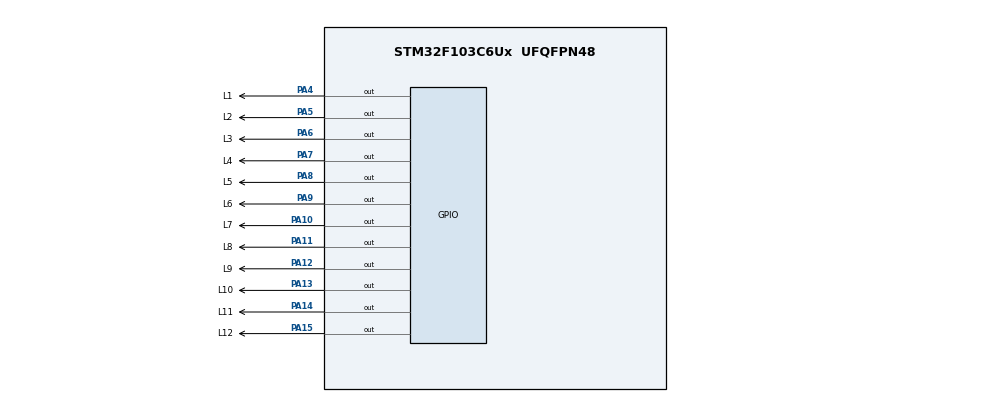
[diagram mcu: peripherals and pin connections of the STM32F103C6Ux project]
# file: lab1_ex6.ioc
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Mcu.Family=STM32F1
Mcu.Name=STM32F103C6Ux
Mcu.Package=UFQFPN48
NVIC.PriorityGroup=NVIC_PRIORITYGROUP_4
PA10.GPIO_Label=L7
PA10.Signal=GPIO_Output
PA11.GPIO_Label=L8
PA11.Signal=GPIO_Output
PA12.GPIO_Label=L9
PA12.Signal=GPIO_Output
PA13.GPIO_Label=L10
PA13.Signal=GPIO_Output
PA14.GPIO_Label=L11
PA14.Signal=GPIO_Output
PA15.GPIO_Label=L12
PA15.Signal=GPIO_Output
PA4.GPIO_Label=L1
PA4.Signal=GPIO_Output
PA5.GPIO_Label=L2
PA5.Signal=GPIO_Output
PA6.GPIO_Label=L3
PA6.Signal=GPIO_Output
PA7.GPIO_Label=L4
PA7.Signal=GPIO_Output
PA8.GPIO_Label=L5
PA8.Signal=GPIO_Output
PA9.GPIO_Label=L6
PA9.Signal=GPIO_Output
ProjectManager.HeapSize=0x200
ProjectManager.StackSize=0x400
ProjectManager.TargetToolchain=STM32CubeIDE
RCC.APB1Freq_Value=8000000
RCC.APB2Freq_Value=8000000
VP_SYS_VS_ND.Mode=No_Debug
board=custom

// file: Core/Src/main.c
/* USER CODE BEGIN Header */
/**
  ******************************************************************************
  * @file           : main.c
  * @brief          : Main program body
  ******************************************************************************
  * @attention
  *
  * <h2><center>&copy; Copyright (c) 2022 STMicroelectronics.
  * All rights reserved.</center></h2>
  *
  * This software component is licensed by ST under BSD 3-Clause license,
  * the "License"; You may not use this file except in compliance with the
  * License. You may obtain a copy of the License at:
  *                        opensource.org/licenses/BSD-3-Clause
  *
  ******************************************************************************
  */
/* USER CODE END Header */
#include "main.h"

void SystemClock_Config(void);
static void MX_GPIO_Init(void);

int main(void)
{

  /* MCU Configuration--------------------------------------------------------*/

  /* Reset of all peripherals, Initializes the Flash interface and the Systick. */
  HAL_Init();

  /* Configure the system clock */
  SystemClock_Config();

  /* Initialize all configured peripherals */
  MX_GPIO_Init();
  /* USER CODE BEGIN 2 */
  int counter = -1;
  // Initialize one of twelve Leds for lighting
  HAL_GPIO_WritePin(GPIOA, L1_Pin, RESET);
  HAL_GPIO_WritePin(GPIOA, L2_Pin, SET);
  HAL_GPIO_WritePin(GPIOA, L3_Pin, SET);
  HAL_GPIO_WritePin(GPIOA, L4_Pin, SET);
  HAL_GPIO_WritePin(GPIOA, L5_Pin, SET);
  HAL_GPIO_WritePin(GPIOA, L6_Pin, SET);
  HAL_GPIO_WritePin(GPIOA, L7_Pin, SET);
  HAL_GPIO_WritePin(GPIOA, L8_Pin, SET);
  HAL_GPIO_WritePin(GPIOA, L9_Pin, SET);
  HAL_GPIO_WritePin(GPIOA, L10_Pin, SET);
  HAL_GPIO_WritePin(GPIOA, L11_Pin, SET);
  HAL_GPIO_WritePin(GPIOA, L12_Pin, SET);
  /* USER CODE END 2 */

  /* Infinite loop */
  while (1)
  {
    /* USER CODE BEGIN 3 */
	  /*Every second, only one LED blinks.
	  And so on, the LEDs blink clockwise in turn after the other until a circle of 12 LEDs completes.
	  Repeat the above effect endlessly.*/
	  switch(counter) {
	  case 0: //LED 1 off, LED 2 on
		  HAL_GPIO_TogglePin(GPIOA, L1_Pin);
		  HAL_GPIO_TogglePin(GPIOA, L2_Pin);
		  break;
	  case 1: //LED 2 off, LED 3 on
		  HAL_GPIO_TogglePin(GPIOA, L2_Pin);
		  HAL_GPIO_TogglePin(GPIOA, L3_Pin);
		  break;
	  case 2: //LED 3 off, LED 4 on
		  HAL_GPIO_TogglePin(GPIOA, L3_Pin);
		  HAL_GPIO_TogglePin(GPIOA, L4_Pin);
		  break;
	  case 3: //LED 4 off, LED 5 on
		  HAL_GPIO_TogglePin(GPIOA, L4_Pin);
		  HAL_GPIO_TogglePin(GPIOA, L5_Pin);
		  break;
	  case 4: //LED 5 off, LED 6 on
		  HAL_GPIO_TogglePin(GPIOA, L5_Pin);
		  HAL_GPIO_TogglePin(GPIOA, L6_Pin);
		  break;
	  case 5: //LED 6 off, LED 7 on
		  HAL_GPIO_TogglePin(GPIOA, L6_Pin);
		  HAL_GPIO_TogglePin(GPIOA, L7_Pin);
		  break;
	  case 6: //LED 7 off, LED 8 on
		  HAL_GPIO_TogglePin(GPIOA, L7_Pin);
		  HAL_GPIO_TogglePin(GPIOA, L8_Pin);
		  break;
	  case 7: //LED 8 off, LED 9 on
		  HAL_GPIO_TogglePin(GPIOA, L8_Pin);
		  HAL_GPIO_TogglePin(GPIOA, L9_Pin);
		  break;
	  case 8: //LED 9 off, LED 10 on
		  HAL_GPIO_TogglePin(GPIOA, L9_Pin);
		  HAL_GPIO_TogglePin(GPIOA, L10_Pin);
		  break;
	  case 9: //LED 10 off, LED 11 on
		  HAL_GPIO_TogglePin(GPIOA, L10_Pin);
		  HAL_GPIO_TogglePin(GPIOA, L11_Pin);
		  break;
	  case 10: //LED 11 off, LED 12 on
		  HAL_GPIO_TogglePin(GPIOA, L11_Pin);
		  HAL_GPIO_TogglePin(GPIOA, L12_Pin);
		  break;
	  case 11: //LED 12 off, LED 1 on
		  HAL_GPIO_TogglePin(GPIOA, L12_Pin);
		  HAL_GPIO_TogglePin(GPIOA, L1_Pin);
		  break;
	  }
	  counter++;
	  if(counter >= 12)
		  counter = 0; //Repeat the above effect endlessly.
	  HAL_Delay(1000);
  }
  /* USER CODE END 3 */
}

void SystemClock_Config(void)
{
  RCC_OscInitTypeDef RCC_OscInitStruct = {0};
  RCC_ClkInitTypeDef RCC_ClkInitStruct = {0};

  /** Initializes the RCC Oscillators according to the specified parameters
  * in the RCC_OscInitTypeDef structure.
  */
  RCC_OscInitStruct.OscillatorType = RCC_OSCILLATORTYPE_HSI;
  RCC_OscInitStruct.HSIState = RCC_HSI_ON;
  RCC_OscInitStruct.HSICalibrationValue = RCC_HSICALIBRATION_DEFAULT;
  RCC_OscInitStruct.PLL.PLLState = RCC_PLL_NONE;
  if (HAL_RCC_OscConfig(&RCC_OscInitStruct) != HAL_OK)
  {
    Error_Handler();
  }
  /** Initializes the CPU, AHB and APB buses clocks
  */
  RCC_ClkInitStruct.ClockType = RCC_CLOCKTYPE_HCLK|RCC_CLOCKTYPE_SYSCLK
                              |RCC_CLOCKTYPE_PCLK1|RCC_CLOCKTYPE_PCLK2;
  RCC_ClkInitStruct.SYSCLKSource = RCC_SYSCLKSOURCE_HSI;
  RCC_ClkInitStruct.AHBCLKDivider = RCC_SYSCLK_DIV1;
  RCC_ClkInitStruct.APB1CLKDivider = RCC_HCLK_DIV1;
  RCC_ClkInitStruct.APB2CLKDivider = RCC_HCLK_DIV1;

  if (HAL_RCC_ClockConfig(&RCC_ClkInitStruct, FLASH_LATENCY_0) != HAL_OK)
  {
    Error_Handler();
  }
}

static void MX_GPIO_Init(void)
{
  GPIO_InitTypeDef GPIO_InitStruct = {0};

  /* GPIO Ports Clock Enable */
  __HAL_RCC_GPIOA_CLK_ENABLE();

  /*Configure GPIO pin Output Level */
  HAL_GPIO_WritePin(GPIOA, L1_Pin|L2_Pin|L3_Pin|L4_Pin
                          |L5_Pin|L6_Pin|L7_Pin|L8_Pin
                          |L9_Pin|L10_Pin|L11_Pin|L12_Pin, GPIO_PIN_RESET);

  /*Configure GPIO pins : L1_Pin L2_Pin L3_Pin L4_Pin
                           L5_Pin L6_Pin L7_Pin L8_Pin
                           L9_Pin L10_Pin L11_Pin L12_Pin */
  GPIO_InitStruct.Pin = L1_Pin|L2_Pin|L3_Pin|L4_Pin
                          |L5_Pin|L6_Pin|L7_Pin|L8_Pin
                          |L9_Pin|L10_Pin|L11_Pin|L12_Pin;
  GPIO_InitStruct.Mode = GPIO_MODE_OUTPUT_PP;
  GPIO_InitStruct.Pull = GPIO_NOPULL;
  GPIO_InitStruct.Speed = GPIO_SPEED_FREQ_LOW;
  HAL_GPIO_Init(GPIOA, &GPIO_InitStruct);

}

void Error_Handler(void)
{
  __disable_irq();
  while (1)
  {
  }
}

/************************ (C) COPYRIGHT STMicroelectronics *****END OF FILE****/
